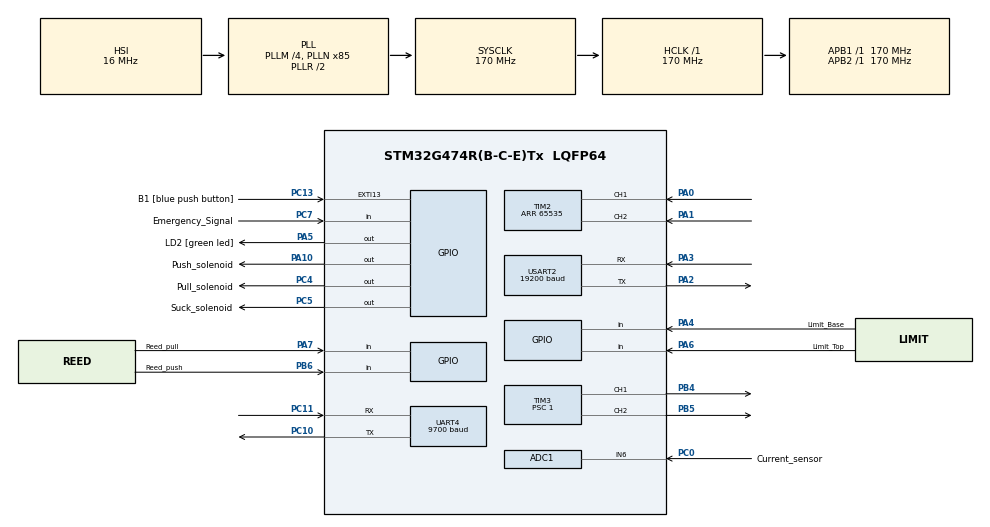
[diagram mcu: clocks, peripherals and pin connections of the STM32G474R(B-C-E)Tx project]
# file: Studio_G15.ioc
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ADC1.Channel-0\#ChannelRegularConversion=ADC_CHANNEL_6
ADC1.NbrOfConversionFlag=1
ADC1.OffsetNumber-0\#ChannelRegularConversion=ADC_OFFSET_NONE
ADC1.Rank-0\#ChannelRegularConversion=1
ADC1.SamplingTime-0\#ChannelRegularConversion=ADC_SAMPLETIME_2CYCLES_5
ADC1.master=1
ARM.CMSIS-DSP.1.15.0.CMSISJjDSP=Source
ARM.CMSIS.6.0.0.CMSISJjCORE=true
Dma.Request0=USART2_TX
Dma.Request1=USART2_RX
Dma.USART2_RX.1.Direction=DMA_PERIPH_TO_MEMORY
Dma.USART2_RX.1.EventEnable=DISABLE
Dma.USART2_RX.1.Instance=DMA1_Channel2
Dma.USART2_RX.1.MemDataAlignment=DMA_MDATAALIGN_BYTE
Dma.USART2_RX.1.MemInc=DMA_MINC_ENABLE
Dma.USART2_RX.1.Mode=DMA_NORMAL
Dma.USART2_RX.1.PeriphDataAlignment=DMA_PDATAALIGN_BYTE
Dma.USART2_RX.1.PeriphInc=DMA_PINC_DISABLE
Dma.USART2_RX.1.Polarity=HAL_DMAMUX_REQ_GEN_RISING
Dma.USART2_RX.1.Priority=DMA_PRIORITY_LOW
Dma.USART2_RX.1.RequestNumber=1
Dma.USART2_RX.1.SignalID=NONE
Dma.USART2_RX.1.SyncEnable=DISABLE
Dma.USART2_RX.1.SyncPolarity=HAL_DMAMUX_SYNC_NO_EVENT
Dma.USART2_RX.1.SyncRequestNumber=1
Dma.USART2_RX.1.SyncSignalID=NONE
Dma.USART2_TX.0.Direction=DMA_MEMORY_TO_PERIPH
Dma.USART2_TX.0.EventEnable=DISABLE
Dma.USART2_TX.0.Instance=DMA1_Channel1
Dma.USART2_TX.0.MemDataAlignment=DMA_MDATAALIGN_BYTE
Dma.USART2_TX.0.MemInc=DMA_MINC_ENABLE
Dma.USART2_TX.0.Mode=DMA_NORMAL
Dma.USART2_TX.0.PeriphDataAlignment=DMA_PDATAALIGN_BYTE
Dma.USART2_TX.0.PeriphInc=DMA_PINC_DISABLE
Dma.USART2_TX.0.Polarity=HAL_DMAMUX_REQ_GEN_RISING
Dma.USART2_TX.0.Priority=DMA_PRIORITY_LOW
Dma.USART2_TX.0.RequestNumber=1
Dma.USART2_TX.0.SignalID=NONE
Dma.USART2_TX.0.SyncEnable=DISABLE
Dma.USART2_TX.0.SyncPolarity=HAL_DMAMUX_SYNC_NO_EVENT
Dma.USART2_TX.0.SyncRequestNumber=1
Dma.USART2_TX.0.SyncSignalID=NONE
Mcu.Family=STM32G4
Mcu.Name=STM32G474R(B-C-E)Tx
Mcu.Package=LQFP64
NVIC.DMA1_Channel1_IRQn=true\:0\:0\:false\:false\:true\:false\:true\:true
NVIC.DMA1_Channel2_IRQn=true\:0\:0\:false\:false\:true\:false\:true\:true
NVIC.EXTI15_10_IRQn=true\:0\:0\:false\:false\:true\:true\:true\:true
NVIC.PriorityGroup=NVIC_PRIORITYGROUP_4
NVIC.TIM1_UP_TIM16_IRQn=true\:0\:0\:false\:false\:true\:true\:true\:true
NVIC.TIM4_IRQn=true\:0\:0\:false\:false\:true\:true\:true\:true
NVIC.TIM5_IRQn=true\:0\:0\:false\:false\:true\:true\:true\:true
NVIC.USART2_IRQn=true\:0\:0\:false\:false\:true\:true\:true\:true
PA0.Signal=S_TIM2_CH1
PA1.Signal=S_TIM2_CH2
PA10.GPIO_Label=Push_solenoid
PA10.Signal=GPIO_Output
PA13.GPIO_Label=T_SWDIO
PA13.Mode=Serial_Wire
PA13.Signal=SYS_JTMS-SWDIO
PA14.GPIO_Label=T_SWCLK
PA14.Mode=Serial_Wire
PA14.Signal=SYS_JTCK-SWCLK
PA2.Mode=Asynchronous
PA2.Signal=USART2_TX
PA3.Mode=Asynchronous
PA3.Signal=USART2_RX
PA4.GPIO_Label=Limit_Base
PA4.GPIO_PuPd=GPIO_PULLDOWN
PA4.Signal=GPIO_Input
PA5.GPIO_Label=LD2 [green led]
PA5.Signal=GPIO_Output
PA6.GPIO_Label=Limit_Top
PA6.GPIO_PuPd=GPIO_PULLDOWN
PA6.Signal=GPIO_Input
PA7.GPIO_Label=Reed_pull
PA7.GPIO_PuPd=GPIO_PULLDOWN
PA7.Signal=GPIO_Input
PB3.GPIO_Label=T_SWO
PB3.Signal=SYS_JTDO-SWO
PB4.Signal=S_TIM3_CH1
PB5.Signal=S_TIM3_CH2
PB6.GPIO_Label=Reed_push
PB6.GPIO_PuPd=GPIO_PULLDOWN
PB6.Signal=GPIO_Input
PC0.GPIO_Label=Current_sensor
PC0.Mode=IN6-Single-Ended
PC0.Signal=ADC1_IN6
PC10.Mode=Asynchronous
PC10.Signal=UART4_TX
PC11.Mode=Asynchronous
PC11.Signal=UART4_RX
PC13.GPIO_Label=B1 [blue push button]
PC13.Signal=GPXTI13
PC14-OSC32_IN.Mode=LSE-External-Oscillator
PC14-OSC32_IN.Signal=RCC_OSC32_IN
PC15-OSC32_OUT.Mode=LSE-External-Oscillator
PC15-OSC32_OUT.Signal=RCC_OSC32_OUT
PC4.GPIO_Label=Pull_solenoid
PC4.Signal=GPIO_Output
PC5.GPIO_Label=Suck_solenoid
PC5.Signal=GPIO_Output
PC7.GPIO_Label=Emergency_Signal
PC7.GPIO_PuPd=GPIO_PULLDOWN
PC7.Signal=GPIO_Input
PF0-OSC_IN.Mode=HSE-External-Oscillator
PF0-OSC_IN.Signal=RCC_OSC_IN
PF1-OSC_OUT.Mode=HSE-External-Oscillator
PF1-OSC_OUT.Signal=RCC_OSC_OUT
ProjectManager.HeapSize=0x200
ProjectManager.StackSize=0x400
ProjectManager.TargetToolchain=STM32CubeIDE
RCC.ADC12Freq_Value=170000000
RCC.ADC345Freq_Value=170000000
RCC.AHBFreq_Value=170000000
RCC.APB1Freq_Value=170000000
RCC.APB1TimFreq_Value=170000000
RCC.APB2Freq_Value=170000000
RCC.APB2TimFreq_Value=170000000
RCC.CortexFreq_Value=170000000
RCC.EXTERNAL_CLOCK_VALUE=12288000
RCC.HCLKFreq_Value=170000000
RCC.HSE_VALUE=24000000
RCC.HSI48_VALUE=48000000
RCC.HSI_VALUE=16000000
RCC.PLLM=RCC_PLLM_DIV4
RCC.PLLN=85
RCC.RTCClockSelection=RCC_RTCCLKSOURCE_LSE
RCC.SYSCLKFreq_VALUE=170000000
RCC.SYSCLKSource=RCC_SYSCLKSOURCE_PLLCLK
RCC.USBFreq_Value=170000000
RCC.VCOOutputFreq_Value=340000000
SH.S_TIM2_CH1.0=TIM2_CH1,Encoder_Interface
SH.S_TIM2_CH2.0=TIM2_CH2,Encoder_Interface
SH.S_TIM3_CH1.0=TIM3_CH1,PWM Generation1 CH1
SH.S_TIM3_CH2.0=TIM3_CH2,PWM Generation2 CH2
TIM16.PeriodNoDither=1145
TIM16.Prescaler=169
TIM2.EncoderMode=TIM_ENCODERMODE_TI12
TIM2.PeriodNoDither=65535
TIM3.Channel-PWM\ Generation1\ CH1=TIM_CHANNEL_1
TIM3.Channel-PWM\ Generation2\ CH2=TIM_CHANNEL_2
TIM3.PeriodNoDither=42499
TIM3.Prescaler=1
TIM4.PeriodNoDither=50
TIM4.Prescaler=169
TIM5.Prescaler=169
UART4.BaudRate=9700
UART4.RXFIFOThreshold=RXFIFO_THRESHOLD_FULL
USART2.BaudRate=19200
USART2.Parity=PARITY_EVEN
USART2.VirtualMode-Asynchronous=VM_ASYNC
USART2.WordLength=WORDLENGTH_9B
VP_ARM.CMSIS-DSP_VS_CMSISJjDSP_1.15.0_1.15.0.Mode=CMSISJjDSP
VP_ARM.CMSIS_VS_CMSISJjCORE_6.0.0_6.0.0.Mode=CMSISJjCORE
VP_SYS_VS_DBSignals.Mode=DisableDeadBatterySignals
VP_TIM16_VS_ClockSourceINT.Mode=Enable_Timer
VP_TIM16_VS_OPM.Mode=OPM_bit
VP_TIM3_VS_ClockSourceINT.Mode=Internal
VP_TIM4_VS_ClockSourceINT.Mode=Internal
VP_TIM5_VS_ClockSourceINT.Mode=Internal
VP_TIM6_VS_ClockSourceINT.Mode=Enable_Timer
board=NUCLEO-G474RE

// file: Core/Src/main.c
/* USER CODE BEGIN Header */
/**
  ******************************************************************************
  * @file           : main.c
  * @brief          : Main program body
  ******************************************************************************
  * @attention
  *
  * Copyright (c) 2024 STMicroelectronics.
  * All rights reserved.
  *
  * This software is licensed under terms that can be found in the LICENSE file
  * in the root directory of this software component.
  * If no LICENSE file comes with this software, it is provided AS-IS.
  *
  ******************************************************************************
  */
/* USER CODE END Header */
#include "main.h"

/* USER CODE BEGIN Includes */
#include "arm_math.h"
#include "ModBusRTU.h"
#include "BaseSystem.h"
#include "kalman.h"
#include "Encoder.h"
#include "Motor.h"
#include "PID_controller.h"
#include "Trapezoidal.h"
#include "PS2.h"

/* USER CODE END Includes */

ADC_HandleTypeDef hadc1;

TIM_HandleTypeDef htim2;
TIM_HandleTypeDef htim3;
TIM_HandleTypeDef htim4;
TIM_HandleTypeDef htim5;
TIM_HandleTypeDef htim6;
TIM_HandleTypeDef htim16;

UART_HandleTypeDef huart4;
UART_HandleTypeDef huart2;
DMA_HandleTypeDef hdma_usart2_tx;
DMA_HandleTypeDef hdma_usart2_rx;

/* USER CODE BEGIN PV */

// Define some library variable
MOTOR MT;
Trap_Traj Traj;
AMT_Encoder AMT;
PS2_typedef ps2;
extern PID_struct PID_pos;
PID_struct PID_velo;
extern KalmanFilter Vel_filtered;
extern BaseStruct base;
ModbusHandleTypedef hmodbus;

// Define some variables
uint64_t _micros;					// Microsecond
uint8_t fixps2[10];
float elapsedTime = 0.0f;			// Total elapsed time in seconds
float i = 0;
u16u8_t registerFrame[200];
int ppp = 0;

// Function here!
uint64_t micros();
void HAL_TIM_PeriodElapsedCallback(TIM_HandleTypeDef *htim);

/* USER CODE END PV */

void SystemClock_Config(void);
static void MX_GPIO_Init(void);
static void MX_DMA_Init(void);
static void MX_TIM2_Init(void);
static void MX_TIM3_Init(void);
static void MX_TIM5_Init(void);
static void MX_UART4_Init(void);
static void MX_TIM4_Init(void);
static void MX_USART2_UART_Init(void);
static void MX_TIM16_Init(void);
static void MX_TIM6_Init(void);
static void MX_ADC1_Init(void);

int main(void)
{

  /* MCU Configuration--------------------------------------------------------*/

  /* Reset of all peripherals, Initializes the Flash interface and the Systick. */
  HAL_Init();

  /* Configure the system clock */
  SystemClock_Config();

  /* Initialize all configured peripherals */
  MX_GPIO_Init();
  MX_DMA_Init();
  MX_TIM2_Init();
  MX_TIM3_Init();
  MX_TIM5_Init();
  MX_UART4_Init();
  MX_TIM4_Init();
  MX_USART2_UART_Init();
  MX_TIM16_Init();
  MX_TIM6_Init();
  MX_ADC1_Init();
  /* USER CODE BEGIN 2 */
  HAL_TIM_Base_Start(&htim2);					// AMT Encoder
  HAL_TIM_Base_Start(&htim3);					// Output compare
  HAL_TIM_Base_Start(&htim6);					// Trajectory trigger
  HAL_TIM_PWM_Start_IT(&htim3, TIM_CHANNEL_1);        // PWM
  HAL_TIM_PWM_Start_IT(&htim3, TIM_CHANNEL_2);        // Direction
  HAL_TIM_Base_Start_IT(&htim4);
  HAL_TIM_Base_Start_IT(&htim5);
  hmodbus.huart = &huart2;
  hmodbus.htim = &htim16;
  hmodbus.slaveAddress = 0x15;
  hmodbus.RegisterSize =200;
  Modbus_init(&hmodbus, registerFrame);

  float PID_pos_K[3] = {2.5 ,0.000025  , 0};
//  float PID_pos_K[3] = {4.5 ,0.00000000495, 0};

  //float PID_velo_K[3] = {3.35 ,0.050, 0.001};
  float PID_velo_K[3] = {11.489 ,0.0000000049, 0.0};

  // Initialize ASRS
  Traject_init(&Traj,450, 500);				// V_max, A_max
//  Kalman_Start(&Vel_filtered);
  AMT_encoder_init(&AMT, &htim2);
  MOTOR_init(&MT, &htim3,TIM_CHANNEL_2, TIM_CHANNEL_1);
  PID_controller_init(&PID_pos,PID_pos_K[0],PID_pos_K[1],PID_pos_K[2]);
  PID_controller_init(&PID_velo,PID_velo_K[0],PID_velo_K[1],PID_velo_K[3]);

  /* USER CODE END 2 */

  /* Infinite loop */
  while (1)
  {

    /* USER CODE BEGIN 3 */

	  // Feedback to base system 5 Hz
	  static uint64_t timestamps =0;
	  if(HAL_GetTick() > timestamps)
	  {
		  timestamps =HAL_GetTick() + 50;		//ms
	  	  Heartbeat();
	  }

//	   Read AMT encoder 1000 Hz
//	  static uint64_t timestamp =0;
//	  int64_t currentTime = HAL_GetTick();
//	  if(currentTime > timestamp)
//	  {
//	  timestamp =currentTime + 1;				//ms
//	  AMT_encoder_update(&AMT, &htim2, micros());
//	  }

	  Vacuum();
	  GripperMovement();
	  Modbus_Protocal_Worker();
	  Routine();

////	  //Ps2
	  HAL_UART_Receive(&huart4,ps2.ps2RX, 10 ,10);
	  if(ps2.ps2RX[0] == 74){
		  ps2.stop = 1;
	  }
	  if (ps2.stop == 1 && ps2.ps2RX[0] == 75){
		  ps2.stop = 0;
		  ps2.pwmOut = 150;
		  __HAL_TIM_SET_COMPARE(&htim3, TIM_CHANNEL_1, ps2.pwmOut);		//Stop and Holf Position
		  __HAL_TIM_SET_COMPARE(&htim3, TIM_CHANNEL_2, 0);
	  }
	  else if(ps2.stop == 0){
		  PS2X_Reader();
	  }
  }
  /* USER CODE END 3 */
}

void SystemClock_Config(void)
{
  RCC_OscInitTypeDef RCC_OscInitStruct = {0};
  RCC_ClkInitTypeDef RCC_ClkInitStruct = {0};

  /** Configure the main internal regulator output voltage
  */
  HAL_PWREx_ControlVoltageScaling(PWR_REGULATOR_VOLTAGE_SCALE1_BOOST);

  /** Initializes the RCC Oscillators according to the specified parameters
  * in the RCC_OscInitTypeDef structure.
  */
  RCC_OscInitStruct.OscillatorType = RCC_OSCILLATORTYPE_HSI;
  RCC_OscInitStruct.HSIState = RCC_HSI_ON;
  RCC_OscInitStruct.HSICalibrationValue = RCC_HSICALIBRATION_DEFAULT;
  RCC_OscInitStruct.PLL.PLLState = RCC_PLL_ON;
  RCC_OscInitStruct.PLL.PLLSource = RCC_PLLSOURCE_HSI;
  RCC_OscInitStruct.PLL.PLLM = RCC_PLLM_DIV4;
  RCC_OscInitStruct.PLL.PLLN = 85;
  RCC_OscInitStruct.PLL.PLLP = RCC_PLLP_DIV2;
  RCC_OscInitStruct.PLL.PLLQ = RCC_PLLQ_DIV2;
  RCC_OscInitStruct.PLL.PLLR = RCC_PLLR_DIV2;
  if (HAL_RCC_OscConfig(&RCC_OscInitStruct) != HAL_OK)
  {
    Error_Handler();
  }

  /** Initializes the CPU, AHB and APB buses clocks
  */
  RCC_ClkInitStruct.ClockType = RCC_CLOCKTYPE_HCLK|RCC_CLOCKTYPE_SYSCLK
                              |RCC_CLOCKTYPE_PCLK1|RCC_CLOCKTYPE_PCLK2;
  RCC_ClkInitStruct.SYSCLKSource = RCC_SYSCLKSOURCE_PLLCLK;
  RCC_ClkInitStruct.AHBCLKDivider = RCC_SYSCLK_DIV1;
  RCC_ClkInitStruct.APB1CLKDivider = RCC_HCLK_DIV1;
  RCC_ClkInitStruct.APB2CLKDivider = RCC_HCLK_DIV1;

  if (HAL_RCC_ClockConfig(&RCC_ClkInitStruct, FLASH_LATENCY_4) != HAL_OK)
  {
    Error_Handler();
  }
}

static void MX_ADC1_Init(void)
{

  ADC_MultiModeTypeDef multimode = {0};
  ADC_ChannelConfTypeDef sConfig = {0};

  /** Common config
  */
  hadc1.Instance = ADC1;
  hadc1.Init.ClockPrescaler = ADC_CLOCK_SYNC_PCLK_DIV4;
  hadc1.Init.Resolution = ADC_RESOLUTION_12B;
  hadc1.Init.DataAlign = ADC_DATAALIGN_RIGHT;
  hadc1.Init.GainCompensation = 0;
  hadc1.Init.ScanConvMode = ADC_SCAN_DISABLE;
  hadc1.Init.EOCSelection = ADC_EOC_SINGLE_CONV;
  hadc1.Init.LowPowerAutoWait = DISABLE;
  hadc1.Init.ContinuousConvMode = DISABLE;
  hadc1.Init.NbrOfConversion = 1;
  hadc1.Init.DiscontinuousConvMode = DISABLE;
  hadc1.Init.ExternalTrigConv = ADC_SOFTWARE_START;
  hadc1.Init.ExternalTrigConvEdge = ADC_EXTERNALTRIGCONVEDGE_NONE;
  hadc1.Init.DMAContinuousRequests = DISABLE;
  hadc1.Init.Overrun = ADC_OVR_DATA_PRESERVED;
  hadc1.Init.OversamplingMode = DISABLE;
  if (HAL_ADC_Init(&hadc1) != HAL_OK)
  {
    Error_Handler();
  }

  /** Configure the ADC multi-mode
  */
  multimode.Mode = ADC_MODE_INDEPENDENT;
  if (HAL_ADCEx_MultiModeConfigChannel(&hadc1, &multimode) != HAL_OK)
  {
    Error_Handler();
  }

  /** Configure Regular Channel
  */
  sConfig.Channel = ADC_CHANNEL_6;
  sConfig.Rank = ADC_REGULAR_RANK_1;
  sConfig.SamplingTime = ADC_SAMPLETIME_2CYCLES_5;
  sConfig.SingleDiff = ADC_SINGLE_ENDED;
  sConfig.OffsetNumber = ADC_OFFSET_NONE;
  sConfig.Offset = 0;
  if (HAL_ADC_ConfigChannel(&hadc1, &sConfig) != HAL_OK)
  {
    Error_Handler();
  }

}

static void MX_TIM2_Init(void)
{

  TIM_Encoder_InitTypeDef sConfig = {0};
  TIM_MasterConfigTypeDef sMasterConfig = {0};

  htim2.Instance = TIM2;
  htim2.Init.Prescaler = 0;
  htim2.Init.CounterMode = TIM_COUNTERMODE_UP;
  htim2.Init.Period = 65535;
  htim2.Init.ClockDivision = TIM_CLOCKDIVISION_DIV1;
  htim2.Init.AutoReloadPreload = TIM_AUTORELOAD_PRELOAD_DISABLE;
  sConfig.EncoderMode = TIM_ENCODERMODE_TI12;
  sConfig.IC1Polarity = TIM_ICPOLARITY_RISING;
  sConfig.IC1Selection = TIM_ICSELECTION_DIRECTTI;
  sConfig.IC1Prescaler = TIM_ICPSC_DIV1;
  sConfig.IC1Filter = 0;
  sConfig.IC2Polarity = TIM_ICPOLARITY_RISING;
  sConfig.IC2Selection = TIM_ICSELECTION_DIRECTTI;
  sConfig.IC2Prescaler = TIM_ICPSC_DIV1;
  sConfig.IC2Filter = 0;
  if (HAL_TIM_Encoder_Init(&htim2, &sConfig) != HAL_OK)
  {
    Error_Handler();
  }
  sMasterConfig.MasterOutputTrigger = TIM_TRGO_RESET;
  sMasterConfig.MasterSlaveMode = TIM_MASTERSLAVEMODE_DISABLE;
  if (HAL_TIMEx_MasterConfigSynchronization(&htim2, &sMasterConfig) != HAL_OK)
  {
    Error_Handler();
  }

}

static void MX_TIM3_Init(void)
{

  TIM_ClockConfigTypeDef sClockSourceConfig = {0};
  TIM_MasterConfigTypeDef sMasterConfig = {0};
  TIM_OC_InitTypeDef sConfigOC = {0};

  htim3.Instance = TIM3;
  htim3.Init.Prescaler = 1;
  htim3.Init.CounterMode = TIM_COUNTERMODE_UP;
  htim3.Init.Period = 42499;
  htim3.Init.ClockDivision = TIM_CLOCKDIVISION_DIV1;
  htim3.Init.AutoReloadPreload = TIM_AUTORELOAD_PRELOAD_DISABLE;
  if (HAL_TIM_Base_Init(&htim3) != HAL_OK)
  {
    Error_Handler();
  }
  sClockSourceConfig.ClockSource = TIM_CLOCKSOURCE_INTERNAL;
  if (HAL_TIM_ConfigClockSource(&htim3, &sClockSourceConfig) != HAL_OK)
  {
    Error_Handler();
  }
  if (HAL_TIM_PWM_Init(&htim3) != HAL_OK)
  {
    Error_Handler();
  }
  sMasterConfig.MasterOutputTrigger = TIM_TRGO_RESET;
  sMasterConfig.MasterSlaveMode = TIM_MASTERSLAVEMODE_DISABLE;
  if (HAL_TIMEx_MasterConfigSynchronization(&htim3, &sMasterConfig) != HAL_OK)
  {
    Error_Handler();
  }
  sConfigOC.OCMode = TIM_OCMODE_PWM1;
  sConfigOC.Pulse = 0;
  sConfigOC.OCPolarity = TIM_OCPOLARITY_HIGH;
  sConfigOC.OCFastMode = TIM_OCFAST_DISABLE;
  if (HAL_TIM_PWM_ConfigChannel(&htim3, &sConfigOC, TIM_CHANNEL_1) != HAL_OK)
  {
    Error_Handler();
  }
  if (HAL_TIM_PWM_ConfigChannel(&htim3, &sConfigOC, TIM_CHANNEL_2) != HAL_OK)
  {
    Error_Handler();
  }
  HAL_TIM_MspPostInit(&htim3);

}

static void MX_TIM4_Init(void)
{

  TIM_ClockConfigTypeDef sClockSourceConfig = {0};
  TIM_MasterConfigTypeDef sMasterConfig = {0};

  htim4.Instance = TIM4;
  htim4.Init.Prescaler = 169;
  htim4.Init.CounterMode = TIM_COUNTERMODE_UP;
  htim4.Init.Period = 50;
  htim4.Init.ClockDivision = TIM_CLOCKDIVISION_DIV1;
  htim4.Init.AutoReloadPreload = TIM_AUTORELOAD_PRELOAD_DISABLE;
  if (HAL_TIM_Base_Init(&htim4) != HAL_OK)
  {
    Error_Handler();
  }
  sClockSourceConfig.ClockSource = TIM_CLOCKSOURCE_INTERNAL;
  if (HAL_TIM_ConfigClockSource(&htim4, &sClockSourceConfig) != HAL_OK)
  {
    Error_Handler();
  }
  sMasterConfig.MasterOutputTrigger = TIM_TRGO_RESET;
  sMasterConfig.MasterSlaveMode = TIM_MASTERSLAVEMODE_DISABLE;
  if (HAL_TIMEx_MasterConfigSynchronization(&htim4, &sMasterConfig) != HAL_OK)
  {
    Error_Handler();
  }

}

static void MX_TIM5_Init(void)
{

  TIM_ClockConfigTypeDef sClockSourceConfig = {0};
  TIM_MasterConfigTypeDef sMasterConfig = {0};

  htim5.Instance = TIM5;
  htim5.Init.Prescaler = 169;
  htim5.Init.CounterMode = TIM_COUNTERMODE_UP;
  htim5.Init.Period = 4294967295;
  htim5.Init.ClockDivision = TIM_CLOCKDIVISION_DIV1;
  htim5.Init.AutoReloadPreload = TIM_AUTORELOAD_PRELOAD_DISABLE;
  if (HAL_TIM_Base_Init(&htim5) != HAL_OK)
  {
    Error_Handler();
  }
  sClockSourceConfig.ClockSource = TIM_CLOCKSOURCE_INTERNAL;
  if (HAL_TIM_ConfigClockSource(&htim5, &sClockSourceConfig) != HAL_OK)
  {
    Error_Handler();
  }
  sMasterConfig.MasterOutputTrigger = TIM_TRGO_RESET;
  sMasterConfig.MasterSlaveMode = TIM_MASTERSLAVEMODE_DISABLE;
  if (HAL_TIMEx_MasterConfigSynchronization(&htim5, &sMasterConfig) != HAL_OK)
  {
    Error_Handler();
  }

}

static void MX_TIM6_Init(void)
{

  TIM_MasterConfigTypeDef sMasterConfig = {0};

  htim6.Instance = TIM6;
  htim6.Init.Prescaler = 0;
  htim6.Init.CounterMode = TIM_COUNTERMODE_UP;
  htim6.Init.Period = 65535;
  htim6.Init.AutoReloadPreload = TIM_AUTORELOAD_PRELOAD_DISABLE;
  if (HAL_TIM_Base_Init(&htim6) != HAL_OK)
  {
    Error_Handler();
  }
  sMasterConfig.MasterOutputTrigger = TIM_TRGO_RESET;
  sMasterConfig.MasterSlaveMode = TIM_MASTERSLAVEMODE_DISABLE;
  if (HAL_TIMEx_MasterConfigSynchronization(&htim6, &sMasterConfig) != HAL_OK)
  {
    Error_Handler();
  }

}

static void MX_TIM16_Init(void)
{

  htim16.Instance = TIM16;
  htim16.Init.Prescaler = 169;
  htim16.Init.CounterMode = TIM_COUNTERMODE_UP;
  htim16.Init.Period = 1145;
  htim16.Init.ClockDivision = TIM_CLOCKDIVISION_DIV1;
  htim16.Init.RepetitionCounter = 0;
  htim16.Init.AutoReloadPreload = TIM_AUTORELOAD_PRELOAD_DISABLE;
  if (HAL_TIM_Base_Init(&htim16) != HAL_OK)
  {
    Error_Handler();
  }
  if (HAL_TIM_OnePulse_Init(&htim16, TIM_OPMODE_SINGLE) != HAL_OK)
  {
    Error_Handler();
  }

}

static void MX_UART4_Init(void)
{

  huart4.Instance = UART4;
  huart4.Init.BaudRate = 9700;
  huart4.Init.WordLength = UART_WORDLENGTH_8B;
  huart4.Init.StopBits = UART_STOPBITS_1;
  huart4.Init.Parity = UART_PARITY_NONE;
  huart4.Init.Mode = UART_MODE_TX_RX;
  huart4.Init.HwFlowCtl = UART_HWCONTROL_NONE;
  huart4.Init.OverSampling = UART_OVERSAMPLING_16;
  huart4.Init.OneBitSampling = UART_ONE_BIT_SAMPLE_DISABLE;
  huart4.Init.ClockPrescaler = UART_PRESCALER_DIV1;
  huart4.AdvancedInit.AdvFeatureInit = UART_ADVFEATURE_NO_INIT;
  if (HAL_UART_Init(&huart4) != HAL_OK)
  {
    Error_Handler();
  }
  if (HAL_UARTEx_SetTxFifoThreshold(&huart4, UART_TXFIFO_THRESHOLD_1_8) != HAL_OK)
  {
    Error_Handler();
  }
  if (HAL_UARTEx_SetRxFifoThreshold(&huart4, UART_RXFIFO_THRESHOLD_8_8) != HAL_OK)
  {
    Error_Handler();
  }
  if (HAL_UARTEx_DisableFifoMode(&huart4) != HAL_OK)
  {
    Error_Handler();
  }

}

static void MX_USART2_UART_Init(void)
{

  huart2.Instance = USART2;
  huart2.Init.BaudRate = 19200;
  huart2.Init.WordLength = UART_WORDLENGTH_9B;
  huart2.Init.StopBits = UART_STOPBITS_1;
  huart2.Init.Parity = UART_PARITY_EVEN;
  huart2.Init.Mode = UART_MODE_TX_RX;
  huart2.Init.HwFlowCtl = UART_HWCONTROL_NONE;
  huart2.Init.OverSampling = UART_OVERSAMPLING_16;
  huart2.Init.OneBitSampling = UART_ONE_BIT_SAMPLE_DISABLE;
  huart2.Init.ClockPrescaler = UART_PRESCALER_DIV1;
  huart2.AdvancedInit.AdvFeatureInit = UART_ADVFEATURE_NO_INIT;
  if (HAL_UART_Init(&huart2) != HAL_OK)
  {
    Error_Handler();
  }
  if (HAL_UARTEx_SetTxFifoThreshold(&huart2, UART_TXFIFO_THRESHOLD_1_8) != HAL_OK)
  {
    Error_Handler();
  }
  if (HAL_UARTEx_SetRxFifoThreshold(&huart2, UART_RXFIFO_THRESHOLD_1_8) != HAL_OK)
  {
    Error_Handler();
  }
  if (HAL_UARTEx_DisableFifoMode(&huart2) != HAL_OK)
  {
    Error_Handler();
  }

}

static void MX_DMA_Init(void)
{

  /* DMA controller clock enable */
  __HAL_RCC_DMAMUX1_CLK_ENABLE();
  __HAL_RCC_DMA1_CLK_ENABLE();

  /* DMA interrupt init */
  /* DMA1_Channel1_IRQn interrupt configuration */
  HAL_NVIC_SetPriority(DMA1_Channel1_IRQn, 0, 0);
  HAL_NVIC_EnableIRQ(DMA1_Channel1_IRQn);
  /* DMA1_Channel2_IRQn interrupt configuration */
  HAL_NVIC_SetPriority(DMA1_Channel2_IRQn, 0, 0);
  HAL_NVIC_EnableIRQ(DMA1_Channel2_IRQn);

}

static void MX_GPIO_Init(void)
{
  GPIO_InitTypeDef GPIO_InitStruct = {0};

  /* GPIO Ports Clock Enable */
  __HAL_RCC_GPIOC_CLK_ENABLE();
  __HAL_RCC_GPIOF_CLK_ENABLE();
  __HAL_RCC_GPIOA_CLK_ENABLE();
  __HAL_RCC_GPIOB_CLK_ENABLE();

  /*Configure GPIO pin Output Level */
  HAL_GPIO_WritePin(GPIOA, LD2_Pin|Push_solenoid_Pin, GPIO_PIN_RESET);

  /*Configure GPIO pin Output Level */
  HAL_GPIO_WritePin(GPIOC, Pull_solenoid_Pin|Suck_solenoid_Pin, GPIO_PIN_RESET);

  /*Configure GPIO pin : B1_Pin */
  GPIO_InitStruct.Pin = B1_Pin;
  GPIO_InitStruct.Mode = GPIO_MODE_IT_RISING;
  GPIO_InitStruct.Pull = GPIO_NOPULL;
  HAL_GPIO_Init(B1_GPIO_Port, &GPIO_InitStruct);

  /*Configure GPIO pins : Limit_Base_Pin Limit_Top_Pin Reed_pull_Pin */
  GPIO_InitStruct.Pin = Limit_Base_Pin|Limit_Top_Pin|Reed_pull_Pin;
  GPIO_InitStruct.Mode = GPIO_MODE_INPUT;
  GPIO_InitStruct.Pull = GPIO_PULLDOWN;
  HAL_GPIO_Init(GPIOA, &GPIO_InitStruct);

  /*Configure GPIO pins : LD2_Pin Push_solenoid_Pin */
  GPIO_InitStruct.Pin = LD2_Pin|Push_solenoid_Pin;
  GPIO_InitStruct.Mode = GPIO_MODE_OUTPUT_PP;
  GPIO_InitStruct.Pull = GPIO_NOPULL;
  GPIO_InitStruct.Speed = GPIO_SPEED_FREQ_LOW;
  HAL_GPIO_Init(GPIOA, &GPIO_InitStruct);

  /*Configure GPIO pins : Pull_solenoid_Pin Suck_solenoid_Pin */
  GPIO_InitStruct.Pin = Pull_solenoid_Pin|Suck_solenoid_Pin;
  GPIO_InitStruct.Mode = GPIO_MODE_OUTPUT_PP;
  GPIO_InitStruct.Pull = GPIO_NOPULL;
  GPIO_InitStruct.Speed = GPIO_SPEED_FREQ_LOW;
  HAL_GPIO_Init(GPIOC, &GPIO_InitStruct);

  /*Configure GPIO pin : Emergency_Signal_Pin */
  GPIO_InitStruct.Pin = Emergency_Signal_Pin;
  GPIO_InitStruct.Mode = GPIO_MODE_INPUT;
  GPIO_InitStruct.Pull = GPIO_PULLDOWN;
  HAL_GPIO_Init(Emergency_Signal_GPIO_Port, &GPIO_InitStruct);

  /*Configure GPIO pin : Reed_push_Pin */
  GPIO_InitStruct.Pin = Reed_push_Pin;
  GPIO_InitStruct.Mode = GPIO_MODE_INPUT;
  GPIO_InitStruct.Pull = GPIO_PULLDOWN;
  HAL_GPIO_Init(Reed_push_GPIO_Port, &GPIO_InitStruct);

  /* EXTI interrupt init*/
  HAL_NVIC_SetPriority(EXTI15_10_IRQn, 0, 0);
  HAL_NVIC_EnableIRQ(EXTI15_10_IRQn);

}

/* USER CODE BEGIN 4 */

volatile uint32_t interrupt_counter = 0;

void HAL_TIM_PeriodElapsedCallback(TIM_HandleTypeDef *htim)
	{
		if(htim == &htim5)
			{
			_micros += UINT32_MAX;
			}
		if(htim == &htim4)
		{
			interrupt_counter++;

			// For 20 kHz
			//------------------For AMT Encoder-------------------//

//			elapsedTime += 0.00005;						// Calibrate Time

			// For 10 kHz
			//-------For AMT Encoder & Base Status check----------//
			if(interrupt_counter % 2 == 0)
			{

			    AMT_encoder_update(&AMT, &htim2, micros());

				//Modbus
				easyCase();
				switch(base.Base_case){
					case 1:
						base.BaseStatus = 1;
						SetShelves();
						break;
					case 2:
						base.BaseStatus = 2;
						SetHome();
						break;
					case 4:
						base.BaseStatus = 4;
						RunJog();
						break;
					case 8:
						base.BaseStatus = 8;
						RunPoint();
						break;
					default :
						base.BaseStatus = 0;
				}

				// Reed Switch Status
				int pinCombination = (HAL_GPIO_ReadPin(GPIOB, GPIO_PIN_6) << 1) | HAL_GPIO_ReadPin(GPIOA, GPIO_PIN_7);
				switch(pinCombination) {
					case 2: // Binary 10: B is SET, A is RESET
						base.ReedStatus = 0b0001;
						break;
					case 1: // Binary 01: B is RESET, A is SET
						base.ReedStatus = 0b0010;
						break;
					default:
						base.ReedStatus = 0b0000;
				}
//				elapsedTime += 0.0001;					// Calibrate Time

			}

			// For 5 KHz
			//----------------For PID & Trajectory----------------//
			if(interrupt_counter % 4 == 0)
			{
				if(ppp == 1){
					elapsedTime += 0.0002;
					Traject(&Traj, 0, 300);
					PID_controller_calculate_velo(&PID_velo, &AMT, Traj.currentVelocity);
//					PID_controller_calculate_pos(&PID_pos, &AMT, Traj.currentPosition);
				}
			}

			// For 2 kHz
			//------------------For control PWM-------------------//
			if(interrupt_counter % 10 == 0)
			{

//				elapsedTime += 0.0005;					//Calibrated Time
//				if (base.BaseStatus == 2){
//					MOTOR_set_duty(&MT, base.MotorHome);
//				}
//				else {
//					MOTOR_set_duty(&MT, base.MotorHome);
//			}
//
//}
//			if (ps2.mode == 1){
//				MOTOR_set_duty(&MT, ps2.pwmOut);
//				if (ps2.pwmOut < 0)
//				{
//					MOTOR_set_duty(&MT, 0);
//				}
//			}
//			if (ps2.mode == 2){
//				PID_controller_cascade(&PID_pos, &PID_velo, &AMT, ps2.PIDPos);
//				MOTOR_set_duty(&MT, PID_velo.out);
//			}
				MOTOR_set_duty(&MT, PID_velo.out);
			}
	}
	}

uint64_t micros()
	{
		return __HAL_TIM_GET_COUNTER(&htim5)+_micros;
	}

/* USER CODE END 4 */

void Error_Handler(void)
{
  __disable_irq();
  while (1)
  {
  }
}
